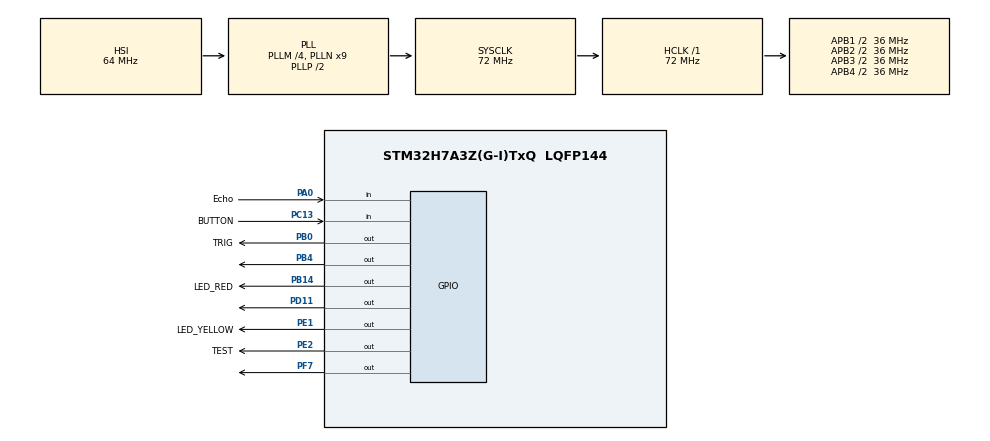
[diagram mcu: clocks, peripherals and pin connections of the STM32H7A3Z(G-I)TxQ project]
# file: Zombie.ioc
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FREERTOS.Tasks01=defaultTask,24,128,StartDefaultTask,Default,NULL,Dynamic,NULL,NULL;MSUTrigger,8,128,TaskTrigger,Default,NULL,Dynamic,NULL,NULL;MSUReadEcho,8,128,TaskECHO,Default,NULL,Dynamic,NULL,NULL;BUTTON,8,128,TaskButton,Default,NULL,Dynamic,NULL,NULL
FREERTOS.configUSE_NEWLIB_REENTRANT=1
Mcu.Family=STM32H7
Mcu.Name=STM32H7A3Z(G-I)TxQ
Mcu.Package=LQFP144
NVIC.PriorityGroup=NVIC_PRIORITYGROUP_4
PA0.GPIO_Label=Echo
PA0.Signal=GPIO_Input
PB0.GPIO_Label=TRIG
PB0.Signal=GPIO_Output
PB14.GPIO_Label=LED_RED
PB14.Signal=GPIO_Output
PB4.GPIO_Label=sortie pascrame?
PB4.Signal=GPIO_Output
PC13.GPIO_Label=BUTTON
PC13.Signal=GPIO_Input
PD11.Signal=GPIO_Output
PE1.GPIO_Label=LED_YELLOW
PE1.Signal=GPIO_Output
PE2.GPIO_Label=TEST
PE2.Signal=GPIO_Output
PF7.Signal=GPIO_Output
PH0-OSC_IN.Mode=HSE-External-Oscillator
PH0-OSC_IN.Signal=RCC_OSC_IN
PH1-OSC_OUT.Mode=HSE-External-Oscillator
PH1-OSC_OUT.Signal=RCC_OSC_OUT
ProjectManager.HeapSize=0x200
ProjectManager.StackSize=0x400
ProjectManager.TargetToolchain=STM32CubeIDE
RCC.ADCFreq_Value=129000000
RCC.APB1Freq_Value=36000000
RCC.APB2Freq_Value=36000000
RCC.APB3Freq_Value=36000000
RCC.APB4Freq_Value=36000000
RCC.CDPPRE=RCC_APB3_DIV2
RCC.CDPPRE1=RCC_APB1_DIV2
RCC.CDPPRE2=RCC_APB2_DIV2
RCC.CortexFreq_Value=72000000
RCC.DIVM1=4
RCC.DIVN1=9
RCC.HCLKFreq_Value=72000000
RCC.PLL2FRACN=0
RCC.PLL3FRACN=0
RCC.PLLFRACN=0
RCC.SRDPPRE=RCC_APB4_DIV2
RCC.SYSCLKFreq_VALUE=72000000
RCC.SYSCLKSource=RCC_SYSCLKSOURCE_PLLCLK
RCC.USBFreq_Value=72000000
TIM1.Prescaler=71
TIM2.Prescaler=71
VP_FREERTOS_VS_CMSIS_V2.Mode=CMSIS_V2
VP_TIM1_VS_ClockSourceINT.Mode=Internal
VP_TIM2_VS_ClockSourceINT.Mode=Internal
board=custom

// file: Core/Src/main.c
/* USER CODE BEGIN Header */
/**
  ******************************************************************************
  * @file           : main.c
  * @brief          : Main program body
  ******************************************************************************
  * @attention
  *
  * Copyright (c) 2023 STMicroelectronics.
  * All rights reserved.
  *
  * This software is licensed under terms that can be found in the LICENSE file
  * in the root directory of this software component.
  * If no LICENSE file comes with this software, it is provided AS-IS.
  *
  ******************************************************************************
  */
/* USER CODE END Header */
#include "main.h"
#include "cmsis_os.h"

TIM_HandleTypeDef htim1;
TIM_HandleTypeDef htim2;

/* Definitions for defaultTask */
osThreadId_t defaultTaskHandle;
const osThreadAttr_t defaultTask_attributes = {
  .name = "defaultTask",
  .stack_size = 128 * 4,
  .priority = (osPriority_t) osPriorityNormal,
};
/* Definitions for MSUTrigger */
osThreadId_t MSUTriggerHandle;
const osThreadAttr_t MSUTrigger_attributes = {
  .name = "MSUTrigger",
  .stack_size = 128 * 4,
  .priority = (osPriority_t) osPriorityLow,
};
/* Definitions for MSUReadEcho */
osThreadId_t MSUReadEchoHandle;
const osThreadAttr_t MSUReadEcho_attributes = {
  .name = "MSUReadEcho",
  .stack_size = 128 * 4,
  .priority = (osPriority_t) osPriorityLow,
};
/* Definitions for BUTTON */
osThreadId_t BUTTONHandle;
const osThreadAttr_t BUTTON_attributes = {
  .name = "BUTTON",
  .stack_size = 128 * 4,
  .priority = (osPriority_t) osPriorityLow,
};
/* USER CODE BEGIN PV */
#define TRIG_PIN GPIO_PIN_0
#define TRIG_PORT GPIOB
#define ECHO_PIN GPIO_PIN_0
#define ECHO_PORT GPIOA
uint32_t pMillis;
uint32_t Value1 = 0;
uint32_t Value2 = 0;
long Distance  = 0;  // cm
int capt =0;
/* USER CODE END PV */

void SystemClock_Config(void);
static void MX_GPIO_Init(void);
static void MX_TIM1_Init(void);
static void MX_TIM2_Init(void);
void StartDefaultTask(void *argument);
void TaskTrigger(void *argument);
void TaskECHO(void *argument);
void TaskButton(void *argument);

int main(void)
{
  /* USER CODE BEGIN 1 */
	HAL_GPIO_WritePin(GPIOF,GPIO_PIN_7,GPIO_PIN_SET);
	HAL_GPIO_WritePin(GPIOB,GPIO_PIN_4,GPIO_PIN_RESET);

  /* USER CODE END 1 */

  /* MCU Configuration--------------------------------------------------------*/

  /* Reset of all peripherals, Initializes the Flash interface and the Systick. */
  HAL_Init();

  /* Configure the system clock */
  SystemClock_Config();

  /* Initialize all configured peripherals */
  MX_GPIO_Init();
  MX_TIM1_Init();
  MX_TIM2_Init();
  /* USER CODE BEGIN 2 */
  HAL_TIM_Base_Start(&htim1);
  HAL_TIM_Base_Start(&htim2);
  HAL_GPIO_WritePin(TRIG_PORT, TRIG_PIN, GPIO_PIN_RESET);  // pull the TRIG pin low
  HAL_GPIO_WritePin(GPIOE, GPIO_PIN_0, GPIO_PIN_SET);
  /* USER CODE END 2 */

  /* Init scheduler */
  osKernelInitialize();

  /* Create the thread(s) */
  /* creation of defaultTask */
  defaultTaskHandle = osThreadNew(StartDefaultTask, NULL, &defaultTask_attributes);

  /* creation of MSUTrigger */
  MSUTriggerHandle = osThreadNew(TaskTrigger, NULL, &MSUTrigger_attributes);

  /* creation of MSUReadEcho */
  MSUReadEchoHandle = osThreadNew(TaskECHO, NULL, &MSUReadEcho_attributes);

  /* creation of BUTTON */
  BUTTONHandle = osThreadNew(TaskButton, NULL, &BUTTON_attributes);

  /* Start scheduler */
  osKernelStart();

  /* We should never get here as control is now taken by the scheduler */
  /* Infinite loop */
  while (1)
  {

  }
}

void SystemClock_Config(void)
{
  RCC_OscInitTypeDef RCC_OscInitStruct = {0};
  RCC_ClkInitTypeDef RCC_ClkInitStruct = {0};

  /*AXI clock gating */
  RCC->CKGAENR = 0xFFFFFFFF;

  /** Supply configuration update enable
  */
  HAL_PWREx_ConfigSupply(PWR_DIRECT_SMPS_SUPPLY);

  /** Configure the main internal regulator output voltage
  */
  __HAL_PWR_VOLTAGESCALING_CONFIG(PWR_REGULATOR_VOLTAGE_SCALE3);

  while(!__HAL_PWR_GET_FLAG(PWR_FLAG_VOSRDY)) {}

  /** Initializes the RCC Oscillators according to the specified parameters
  * in the RCC_OscInitTypeDef structure.
  */
  RCC_OscInitStruct.OscillatorType = RCC_OSCILLATORTYPE_HSI;
  RCC_OscInitStruct.HSIState = RCC_HSI_DIV1;
  RCC_OscInitStruct.HSICalibrationValue = RCC_HSICALIBRATION_DEFAULT;
  RCC_OscInitStruct.PLL.PLLState = RCC_PLL_ON;
  RCC_OscInitStruct.PLL.PLLSource = RCC_PLLSOURCE_HSI;
  RCC_OscInitStruct.PLL.PLLM = 4;
  RCC_OscInitStruct.PLL.PLLN = 9;
  RCC_OscInitStruct.PLL.PLLP = 2;
  RCC_OscInitStruct.PLL.PLLQ = 2;
  RCC_OscInitStruct.PLL.PLLR = 2;
  RCC_OscInitStruct.PLL.PLLRGE = RCC_PLL1VCIRANGE_3;
  RCC_OscInitStruct.PLL.PLLVCOSEL = RCC_PLL1VCOWIDE;
  RCC_OscInitStruct.PLL.PLLFRACN = 0;
  if (HAL_RCC_OscConfig(&RCC_OscInitStruct) != HAL_OK)
  {
    Error_Handler();
  }

  /** Initializes the CPU, AHB and APB buses clocks
  */
  RCC_ClkInitStruct.ClockType = RCC_CLOCKTYPE_HCLK|RCC_CLOCKTYPE_SYSCLK
                              |RCC_CLOCKTYPE_PCLK1|RCC_CLOCKTYPE_PCLK2
                              |RCC_CLOCKTYPE_D3PCLK1|RCC_CLOCKTYPE_D1PCLK1;
  RCC_ClkInitStruct.SYSCLKSource = RCC_SYSCLKSOURCE_PLLCLK;
  RCC_ClkInitStruct.SYSCLKDivider = RCC_SYSCLK_DIV1;
  RCC_ClkInitStruct.AHBCLKDivider = RCC_HCLK_DIV1;
  RCC_ClkInitStruct.APB3CLKDivider = RCC_APB3_DIV2;
  RCC_ClkInitStruct.APB1CLKDivider = RCC_APB1_DIV2;
  RCC_ClkInitStruct.APB2CLKDivider = RCC_APB2_DIV2;
  RCC_ClkInitStruct.APB4CLKDivider = RCC_APB4_DIV2;

  if (HAL_RCC_ClockConfig(&RCC_ClkInitStruct, FLASH_LATENCY_3) != HAL_OK)
  {
    Error_Handler();
  }
}

static void MX_TIM1_Init(void)
{

  TIM_ClockConfigTypeDef sClockSourceConfig = {0};
  TIM_MasterConfigTypeDef sMasterConfig = {0};

  htim1.Instance = TIM1;
  htim1.Init.Prescaler = 71;
  htim1.Init.CounterMode = TIM_COUNTERMODE_UP;
  htim1.Init.Period = 65535;
  htim1.Init.ClockDivision = TIM_CLOCKDIVISION_DIV1;
  htim1.Init.RepetitionCounter = 0;
  htim1.Init.AutoReloadPreload = TIM_AUTORELOAD_PRELOAD_DISABLE;
  if (HAL_TIM_Base_Init(&htim1) != HAL_OK)
  {
    Error_Handler();
  }
  sClockSourceConfig.ClockSource = TIM_CLOCKSOURCE_INTERNAL;
  if (HAL_TIM_ConfigClockSource(&htim1, &sClockSourceConfig) != HAL_OK)
  {
    Error_Handler();
  }
  sMasterConfig.MasterOutputTrigger = TIM_TRGO_RESET;
  sMasterConfig.MasterOutputTrigger2 = TIM_TRGO2_RESET;
  sMasterConfig.MasterSlaveMode = TIM_MASTERSLAVEMODE_DISABLE;
  if (HAL_TIMEx_MasterConfigSynchronization(&htim1, &sMasterConfig) != HAL_OK)
  {
    Error_Handler();
  }

}

static void MX_TIM2_Init(void)
{

  TIM_ClockConfigTypeDef sClockSourceConfig = {0};
  TIM_MasterConfigTypeDef sMasterConfig = {0};

  htim2.Instance = TIM2;
  htim2.Init.Prescaler = 71;
  htim2.Init.CounterMode = TIM_COUNTERMODE_UP;
  htim2.Init.Period = 4294967295;
  htim2.Init.ClockDivision = TIM_CLOCKDIVISION_DIV1;
  htim2.Init.AutoReloadPreload = TIM_AUTORELOAD_PRELOAD_DISABLE;
  if (HAL_TIM_Base_Init(&htim2) != HAL_OK)
  {
    Error_Handler();
  }
  sClockSourceConfig.ClockSource = TIM_CLOCKSOURCE_INTERNAL;
  if (HAL_TIM_ConfigClockSource(&htim2, &sClockSourceConfig) != HAL_OK)
  {
    Error_Handler();
  }
  sMasterConfig.MasterOutputTrigger = TIM_TRGO_RESET;
  sMasterConfig.MasterSlaveMode = TIM_MASTERSLAVEMODE_DISABLE;
  if (HAL_TIMEx_MasterConfigSynchronization(&htim2, &sMasterConfig) != HAL_OK)
  {
    Error_Handler();
  }

}

static void MX_GPIO_Init(void)
{
  GPIO_InitTypeDef GPIO_InitStruct = {0};

  /* GPIO Ports Clock Enable */
  __HAL_RCC_GPIOE_CLK_ENABLE();
  __HAL_RCC_GPIOC_CLK_ENABLE();
  __HAL_RCC_GPIOF_CLK_ENABLE();
  __HAL_RCC_GPIOH_CLK_ENABLE();
  __HAL_RCC_GPIOA_CLK_ENABLE();
  __HAL_RCC_GPIOB_CLK_ENABLE();
  __HAL_RCC_GPIOD_CLK_ENABLE();

  /*Configure GPIO pin Output Level */
  HAL_GPIO_WritePin(GPIOE, TEST_Pin|LED_YELLOW_Pin, GPIO_PIN_RESET);

  /*Configure GPIO pin Output Level */
  HAL_GPIO_WritePin(GPIOF, GPIO_PIN_7, GPIO_PIN_RESET);

  /*Configure GPIO pin Output Level */
  HAL_GPIO_WritePin(GPIOB, TRIG_Pin|LED_RED_Pin|sortie_pascrame__Pin, GPIO_PIN_RESET);

  /*Configure GPIO pin Output Level */
  HAL_GPIO_WritePin(GPIOD, GPIO_PIN_11, GPIO_PIN_RESET);

  /*Configure GPIO pins : TEST_Pin LED_YELLOW_Pin */
  GPIO_InitStruct.Pin = TEST_Pin|LED_YELLOW_Pin;
  GPIO_InitStruct.Mode = GPIO_MODE_OUTPUT_PP;
  GPIO_InitStruct.Pull = GPIO_NOPULL;
  GPIO_InitStruct.Speed = GPIO_SPEED_FREQ_LOW;
  HAL_GPIO_Init(GPIOE, &GPIO_InitStruct);

  /*Configure GPIO pin : BUTTON_Pin */
  GPIO_InitStruct.Pin = BUTTON_Pin;
  GPIO_InitStruct.Mode = GPIO_MODE_INPUT;
  GPIO_InitStruct.Pull = GPIO_NOPULL;
  HAL_GPIO_Init(BUTTON_GPIO_Port, &GPIO_InitStruct);

  /*Configure GPIO pin : PF7 */
  GPIO_InitStruct.Pin = GPIO_PIN_7;
  GPIO_InitStruct.Mode = GPIO_MODE_OUTPUT_PP;
  GPIO_InitStruct.Pull = GPIO_NOPULL;
  GPIO_InitStruct.Speed = GPIO_SPEED_FREQ_LOW;
  HAL_GPIO_Init(GPIOF, &GPIO_InitStruct);

  /*Configure GPIO pin : Echo_Pin */
  GPIO_InitStruct.Pin = Echo_Pin;
  GPIO_InitStruct.Mode = GPIO_MODE_INPUT;
  GPIO_InitStruct.Pull = GPIO_NOPULL;
  HAL_GPIO_Init(Echo_GPIO_Port, &GPIO_InitStruct);

  /*Configure GPIO pins : TRIG_Pin LED_RED_Pin sortie_pascrame__Pin */
  GPIO_InitStruct.Pin = TRIG_Pin|LED_RED_Pin|sortie_pascrame__Pin;
  GPIO_InitStruct.Mode = GPIO_MODE_OUTPUT_PP;
  GPIO_InitStruct.Pull = GPIO_NOPULL;
  GPIO_InitStruct.Speed = GPIO_SPEED_FREQ_LOW;
  HAL_GPIO_Init(GPIOB, &GPIO_InitStruct);

  /*Configure GPIO pin : PD11 */
  GPIO_InitStruct.Pin = GPIO_PIN_11;
  GPIO_InitStruct.Mode = GPIO_MODE_OUTPUT_PP;
  GPIO_InitStruct.Pull = GPIO_NOPULL;
  GPIO_InitStruct.Speed = GPIO_SPEED_FREQ_LOW;
  HAL_GPIO_Init(GPIOD, &GPIO_InitStruct);

}

void StartDefaultTask(void *argument)
{
  for(;;)
  {
    osDelay(1);
  }
}

void TaskTrigger(void *argument)
{
  /* USER CODE BEGIN TaskTrigger */
  /* Infinite loop */
  for(;;)
  {
	  //Pull the trigger ppin high for 1ms and then wait 60 ms (datasheet hc sr04)
    HAL_GPIO_WritePin(GPIOB,GPIO_PIN_0,GPIO_PIN_SET);
    HAL_Delay(1);
    HAL_GPIO_WritePin(GPIOB,GPIO_PIN_0,GPIO_PIN_RESET);
    HAL_Delay(60);
  }
  /* USER CODE END TaskTrigger */
}

void TaskECHO(void *argument)
{
  /* USER CODE BEGIN TaskECHO */
  /* Infinite loop */
  long startTime=0;
  for(;;)
  {
	  //If no echo received do nothing
	  while(HAL_GPIO_ReadPin(GPIOA,GPIO_PIN_0)==0);
	  //Begin the timer
	  startTime=__HAL_TIM_GetCounter(&htim2);
	  //Get the distance when echo is received
	  while(HAL_GPIO_ReadPin(GPIOA,GPIO_PIN_0)==1)
	  Distance= (__HAL_TIM_GetCounter(&htim2)-startTime)*0.17;
	  //Threshhold distance to enable the Tesla
	  if (Distance<=700)
	  {
		  //Pin that goes to the tesla
		  HAL_GPIO_WritePin(GPIOB,GPIO_PIN_4,GPIO_PIN_SET);
		  //Led check
		  HAL_GPIO_WritePin(GPIOE,GPIO_PIN_1,GPIO_PIN_SET);
		  capt=1;
	  }

  }
  /* USER CODE END TaskECHO */
}

void TaskButton(void *argument)
{
  /* USER CODE BEGIN TaskButton */
  /* Infinite loop */
	int appui=0;
  for(;;)
  {
	 if (HAL_GPIO_ReadPin(GPIOC,GPIO_PIN_13)==1 && appui==0)
	 {
	     appui = 1;
	     HAL_GPIO_WritePin(GPIOB,GPIO_PIN_4,GPIO_PIN_RESET);
	     HAL_GPIO_WritePin(GPIOE,GPIO_PIN_1,GPIO_PIN_RESET);
	     HAL_Delay(10000);
	     HAL_GPIO_WritePin(GPIOB,GPIO_PIN_4,GPIO_PIN_SET);

	 }
	 if ((HAL_GPIO_ReadPin(GPIOC,GPIO_PIN_13)==0) && (appui==1))
	 {
	 	appui=0;
	 }

	}

  }
  /* USER CODE END TaskButton */

void Error_Handler(void)
{
  __disable_irq();
  while (1)
  {
  }
}
